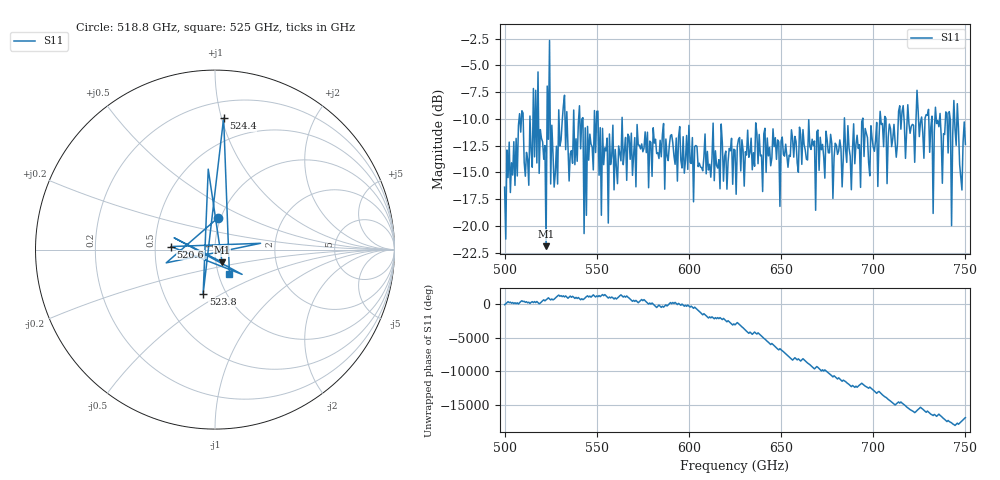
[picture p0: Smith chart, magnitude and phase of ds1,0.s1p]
!Created with skrf (http://scikit-rf.org).
# GHz S RI R 50.0
!freq ReS11 ImS11
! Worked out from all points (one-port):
!   401 points, 500 GHz to 750 GHz, reference 50 ohm
!   lowest |S11| = -21.9 dB at 522.5 GHz (marker M1), VSWR 1.17, Z = 53.6 - j7.55 ohm
!   |S11| at or under -10 dB: 550.7 GHz to 563.7 GHz (13.03 GHz wide, 2.34 % of centre); 563.8 GHz to 684.4 GHz (120.6 GHz wide, 19.3 % of centre); 684.4 GHz to 694.3 GHz (9.861 GHz wide, 1.43 % of centre) (the widest 3 of 35)
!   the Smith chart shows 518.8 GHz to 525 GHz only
!   S11 on the Smith chart (normalised r, x): 518.8 GHz: 0.97, +0.35; 520.6 GHz: 0.60, +0.02; 523.8 GHz: 0.78, -0.41; 524.4 GHz: 0.32, +1.02; 525 GHz: 1.13, -0.31
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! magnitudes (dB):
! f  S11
! 500 GHz  -16.4
! 508.8 GHz  -11.2
! 511.9 GHz  -13.1
! 516.9 GHz  -7.3
! 518.8 GHz  -15.1
! 520.6 GHz  -12.2
! 522.5 GHz  -21.9
! 523.8 GHz  -11.9
! 524.4 GHz  -2.7
! 525 GHz  -16.1
! 527.5 GHz  -15.1
! 531.2 GHz  -10.2
! 535.6 GHz  -13.3
! 541.2 GHz  -12.8
! 544.4 GHz  -19.0
! 549.4 GHz  -13.2
! 552.5 GHz  -19.0
! 562.5 GHz  -13.2
! 593.8 GHz  -15.8
! 625 GHz  -12.9
! 656.2 GHz  -11.9
! 687.5 GHz  -13.5
! 718.8 GHz  -8.7
! 740.6 GHz  -13.2
! 741.9 GHz  -10.2
! 745 GHz  -12.5
! 747.5 GHz  -15.5
! 750 GHz  -12.4
